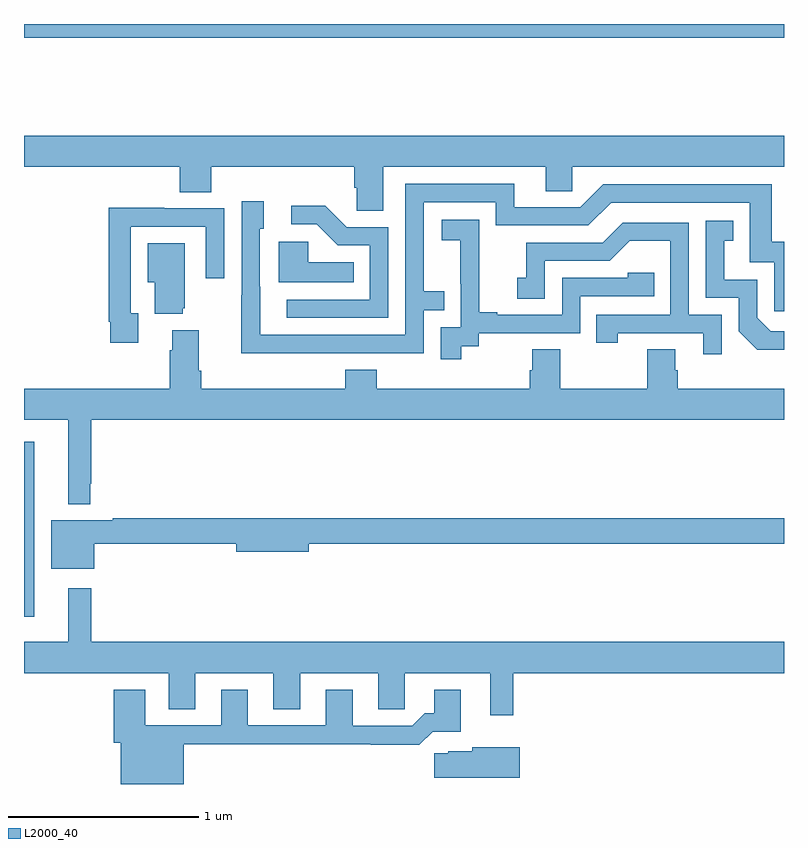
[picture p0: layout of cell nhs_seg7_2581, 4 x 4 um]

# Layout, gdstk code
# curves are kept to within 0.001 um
import gdstk
lib = gdstk.Library(unit=1e-6, precision=1e-09)
def R(c, l, rs):  # rectangles x0, y0, x1, y1
    for r in rs: c.add(gdstk.rectangle(r[:2], r[2:], *l))
def P(c, l, *ps):  # polygons
    for p in ps: c.add(gdstk.Polygon(p, *l))
L2000_40 = (2000, 40)

nhs_seg7_2581 = lib.new_cell('nhs_seg7_2581')
R(nhs_seg7_2581, L2000_40, [(279,1032.881,279.055,1033.801), (279,1035.928,283,1036)])
P(nhs_seg7_2581, L2000_40, [(280.891,1035.248),(281.747,1035.248),(281.747,1035.121),(281.886,1035.121),(281.886,1035.248),(283,1035.248),(283,1035.412),(279,1035.412),(279,1035.248),(279.821,1035.248),(279.821,1035.115),(279.986,1035.115),(279.986,1035.248),(280.739,1035.248),(280.739,1035.139),(280.752,1035.139),(280.752,1035.016),(280.891,1035.016)],
  [(280.607,1034.268),(281.103,1034.268),(281.103,1034.493),(281.213,1034.493),(281.213,1034.594),(281.103,1034.594),(281.103,1035.063),(281.484,1035.063),(281.484,1034.94),(281.97,1034.94),(282.09,1035.06),(282.819,1035.06),(282.819,1034.745),(282.948,1034.745),(282.948,1034.487),(283,1034.487),(283,1034.853),(282.935,1034.853),(282.935,1035.156),(282.048,1035.156),(281.928,1035.036),(281.581,1035.036),(281.581,1035.159),(281.007,1035.159),(281.007,1034.364),(280.243,1034.364),(280.242,1034.922),(280.261,1034.922),(280.261,1035.067),(280.146,1035.067),(280.146,1034.573),(280.144,1034.573),(280.144,1034.267)],
  [(280.917,1034.931),(280.698,1034.931),(280.585,1035.044),(280.407,1035.044),(280.407,1034.946),(280.541,1034.946),(280.652,1034.835),(280.821,1034.835),(280.821,1034.55),(280.383,1034.55),(280.383,1034.454),(280.917,1034.454)],
  [(279.601,1034.478),(279.561,1034.478),(279.561,1034.934),(279.957,1034.934),(279.957,1034.661),(280.053,1034.661),(280.053,1035.03),(279.737,1035.03),(279.737,1035.032),(279.445,1035.032),(279.445,1034.434),(279.453,1034.434),(279.453,1034.322),(279.601,1034.322)],
  [(281.302,1034.305),(281.394,1034.305),(281.394,1034.373),(281.928,1034.373),(281.928,1034.568),(282.317,1034.568),(282.317,1034.691),(282.177,1034.691),(282.177,1034.664),(281.832,1034.664),(281.832,1034.469),(281.491,1034.469),(281.491,1034.482),(281.396,1034.482),(281.396,1034.765),(281.397,1034.765),(281.397,1034.971),(281.199,1034.971),(281.199,1034.861),(281.297,1034.861),(281.297,1034.632),(281.298,1034.632),(281.298,1034.403),(281.193,1034.403),(281.193,1034.235),(281.302,1034.235)],
  [(283,1034.382),(282.93,1034.382),(282.858,1034.454),(282.858,1034.655),(282.685,1034.655),(282.685,1034.859),(282.734,1034.859),(282.734,1034.965),(282.588,1034.965),(282.588,1034.559),(282.762,1034.559),(282.762,1034.382),(282.86,1034.285),(283,1034.285)],
  [(282.672,1034.469),(282.498,1034.469),(282.498,1034.955),(282.152,1034.955),(282.047,1034.85),(281.644,1034.85),(281.644,1034.665),(281.595,1034.665),(281.595,1034.555),(281.742,1034.555),(281.742,1034.754),(282.084,1034.754),(282.188,1034.858),(282.402,1034.858),(282.402,1034.469),(282.013,1034.469),(282.013,1034.322),(282.124,1034.322),(282.124,1034.373),(282.575,1034.373),(282.575,1034.262),(282.672,1034.262)],
  [(280.736,1034.746),(280.497,1034.746),(280.497,1034.854),(280.34,1034.854),(280.34,1034.642),(280.736,1034.642)],
  [(279.836,1034.505),(279.847,1034.505),(279.847,1034.845),(279.65,1034.845),(279.65,1034.642),(279.689,1034.642),(279.689,1034.474),(279.836,1034.474)],
  [(279.348,1033.579),(279.355,1033.579),(279.355,1033.916),(283,1033.916),(283,1034.08),(282.44,1034.08),(282.44,1034.178),(282.427,1034.178),(282.427,1034.288),(282.28,1034.288),(282.28,1034.08),(281.823,1034.08),(281.823,1034.288),(281.675,1034.288),(281.675,1034.178),(281.663,1034.178),(281.663,1034.08),(280.856,1034.08),(280.856,1034.179),(280.691,1034.179),(280.691,1034.08),(279.932,1034.08),(279.932,1034.176),(279.919,1034.176),(279.919,1034.389),(279.779,1034.389),(279.779,1034.282),(279.767,1034.282),(279.767,1034.08),(279,1034.08),(279,1033.916),(279.233,1033.916),(279.233,1033.472),(279.348,1033.472)],
  [(279.37,1033.264),(280.118,1033.264),(280.118,1033.222),(280.498,1033.222),(280.498,1033.264),(283,1033.264),(283,1033.4),(279.466,1033.4),(279.466,1033.387),(279.143,1033.387),(279.143,1033.133),(279.37,1033.133)],
  [(281.575,1032.584),(283,1032.584),(283,1032.748),(279.355,1032.748),(279.355,1033.03),(279.233,1033.03),(279.233,1032.748),(279,1032.748),(279,1032.584),(279.761,1032.584),(279.761,1032.394),(279.901,1032.394),(279.901,1032.584),(280.313,1032.584),(280.313,1032.394),(280.453,1032.394),(280.453,1032.584),(280.865,1032.584),(280.865,1032.394),(281.004,1032.394),(281.004,1032.584),(281.453,1032.584),(281.453,1032.363),(281.575,1032.363)],
  [(279.841,1032.208),(280.825,1032.208),(280.825,1032.206),(281.081,1032.206),(281.151,1032.276),(281.299,1032.276),(281.299,1032.496),(281.159,1032.496),(281.159,1032.373),(281.11,1032.373),(281.043,1032.306),(280.729,1032.306),(280.729,1032.496),(280.589,1032.496),(280.589,1032.309),(280.177,1032.309),(280.177,1032.496),(280.037,1032.496),(280.037,1032.309),(279.637,1032.309),(279.637,1032.496),(279.473,1032.496),(279.473,1032.216),(279.509,1032.216),(279.509,1032),(279.841,1032)],
  [(281.608,1032.193),(281.358,1032.193),(281.358,1032.172),(281.232,1032.172),(281.232,1032.161),(281.16,1032.161),(281.16,1032.032),(281.608,1032.032)])

lib.write_gds('nhs_seg7_2581.gds')
